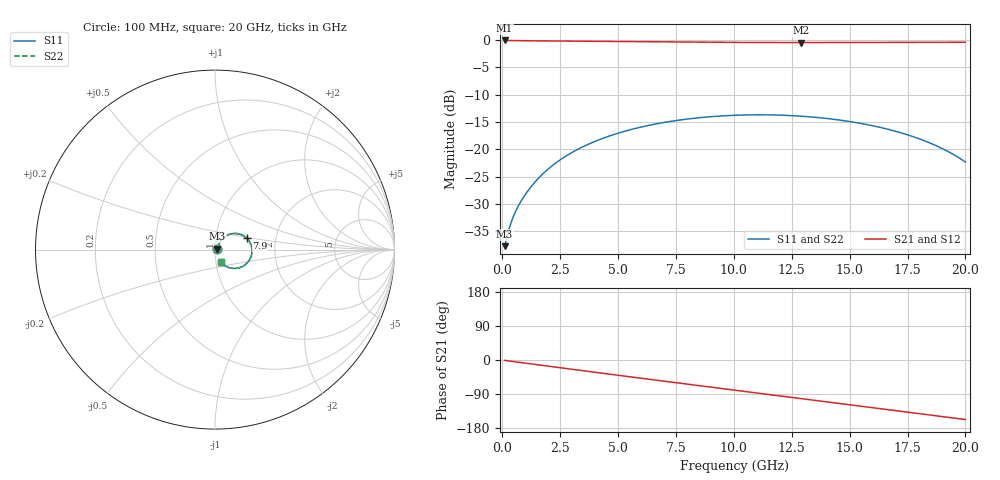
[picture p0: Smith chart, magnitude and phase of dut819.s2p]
! Touchstone file exported from HFSS 2026.1.0
!  File:  C:/ffzhzh/LocalFiles/Ansys_Project_Files/temp_train_TSV_RDL_819_1783265405_38820.aedt
!  Generated:  11:37:52 PM Jul  5, 2026
!  Design:  TSV_RDL
!  Project:  temp_train_TSV_RDL_819_1783265405_38820
! Variables:
!  h_bsmrdl = 2.39um
!  h_ox = 20um
!  h_rdl = 5um
!  h_sub = 61.92um
!  h_tmrdl = 5.94um
!  h_tsv = 61.92um
!  h_via = 3um
!  l_bsmrdl = 573.18um
!  l_sub = 2735.67um
!  l_tmrdl = 114.32um
!  m_sub = 200um
!  pitch = 35.86um
!  r_tsv = 7.69um
!  s_tmrdl = 10um
!  w_bsmrdl = 27.72um
!  w_sub = 500um
!  w_tmrdl = 25.23um
!  x_tsv_center1 = 126.935um
!  x_tsv_center2 = 727.835um
!  x_tsv_center3 = 867.385um
!  x_tsv_center4 = 1468.285um
!  x_tsv_center5 = 1607.835um
!  x_tsv_center6 = 2208.735um
# GHz S MA R 50.000000
! Terminal data exported
! Port[1] = TM_RDL1_1_T1
! Port[2] = TM_RDL5_1_T1
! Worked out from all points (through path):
!   200 points, 100 MHz to 20 GHz, reference 50 ohm
!   highest |S21| = -0.11 dB at 100 MHz (marker M1); lowest = -0.5 dB at 12.9 GHz (marker M2)
!   group delay of S21, straight-line fit = 21.6 ps
!   lowest |S11| = -37.7 dB at 100 MHz (marker M3), VSWR 1.03, Z = 51.2 + j0.459 ohm
!   |S11| at or under -10 dB: start of sweep to end of sweep
!   |S22| runs from -37.7 to -13.7 dB; largest |S21 - S12| = 8.9e-14
!   S11 on the Smith chart (normalised r, x): 100 MHz: 1.02, +0.01; 7.9 GHz: 1.42, +0.19; 20 GHz: 1.06, -0.15
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0.1  0.013 20.1  0.9879 -0.9  0.9879 -0.9  0.013 20.1
! Gamma 0 0 0 0
! Port Impedance 50 0 50 0
0.3  0.01891 39.9  0.986 -2.6  0.986 -2.6  0.01891 39.9
0.5  0.02493 46.7  0.9842 -4.3  0.9842 -4.3  0.02493 46.7
0.8  0.03326 51.9  0.9824 -6.7  0.9824 -6.7  0.03326 51.9
1.2  0.04427 55.2  0.9807 -10.0  0.9807 -10.0  0.04427 55.2
1.7  0.05817 56.2  0.9787 -14.0  0.9787 -14.0  0.05817 56.2
2.2  0.07195 55.3  0.9768 -18.0  0.9768 -18.0  0.07195 55.3
2.8  0.08801 52.9  0.9743 -22.9  0.9743 -22.9  0.08801 52.9
3.5  0.1059 49.2  0.9714 -28.4  0.9714 -28.4  0.1059 49.2
5  0.1403 39.8  0.965 -40.3  0.965 -40.3  0.1402 39.9
6.8  0.173 27.4  0.9576 -54.4  0.9576 -54.4  0.173 27.5
7.9  0.1879 19.6  0.9537 -63.0  0.9537 -63.0  0.1879 19.6
9  0.1985 11.7  0.9504 -71.5  0.9504 -71.5  0.1985 11.7
10.1  0.2047 3.8  0.9479 -80.0  0.9479 -80.0  0.2047 3.8
11.5  0.2062 -6.4  0.946 -90.7  0.946 -90.7  0.2062 -6.4
12.9  0.2006 -16.6  0.9454 -101.5  0.9454 -101.5  0.2006 -16.5
13.4  0.1969 -20.2  0.9455 -105.4  0.9455 -105.4  0.1969 -20.1
15  0.1793 -31.8  0.9465 -117.8  0.9465 -117.8  0.1793 -31.7
16.7  0.1515 -43.9  0.9484 -131.0  0.9484 -131.0  0.1515 -43.8
18.5  0.1134 -56.3  0.9503 -145.2  0.9503 -145.2  0.1134 -56.1
19.3  0.09415 -61.3  0.9508 -151.5  0.9508 -151.5  0.09417 -61.1
20  0.07639 -65.2  0.951 -157.1  0.951 -157.1  0.07642 -65.0
